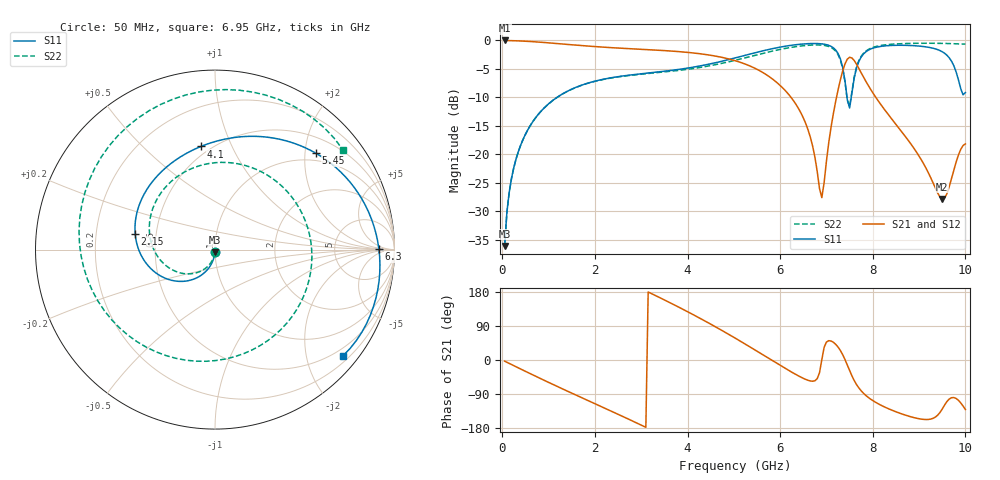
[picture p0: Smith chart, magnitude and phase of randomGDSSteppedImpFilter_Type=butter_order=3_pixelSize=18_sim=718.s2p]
! freq	dB(S11)	phase(S11)	dB(S12)	phase(S12)
!  dB(S21)	phase(S21)	dB(S22)	phase(S22)
!S-par simulation data
#  GHz  S  DB  R 50
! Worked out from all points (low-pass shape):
!   200 points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, 50 MHz to 10 GHz, reference 50 ohm
!   highest |S21| = -0.01 dB at 50 MHz (marker M1); lowest = -27.9 dB at 9.5 GHz (marker M2)
!   |S21| within 3 dB of the highest: start of sweep to 4.76 GHz; 7.492976 GHz to 7.518858 GHz (25.88 MHz wide, 0.345 % of centre)
!   lowest |S11| = -36.1 dB at 50 MHz (marker M3), VSWR 1.03, Z = 49.9 - j1.56 ohm
!   |S11| at or under -10 dB: start of sweep to 1.182 GHz; 7.444 GHz to 7.535 GHz (91.76 MHz wide, 1.23 % of centre)
!   |S22| runs from -36.1 to -0.5 dB; largest |S21 - S12| = 0
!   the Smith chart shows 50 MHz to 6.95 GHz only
!   S11 on the Smith chart (normalised r, x): 50 MHz: 1.00, -0.03; 2.15 GHz: 0.38, +0.08; 4.1 GHz: 0.44, +0.77; 5.45 GHz: 0.83, +2.24; 6.3 GHz: 22, +1; 6.95 GHz: 0.32, -2.73
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0.05  -36.12 -92.5  -0.01 -3.1  -0.01 -3.1  -36.14 -93.5
0.2  -24.19 -100.5  -0.04 -12.1  -0.04 -12.1  -24.20 -104.0
0.5  -16.49 -116.1  -0.14 -29.9  -0.14 -29.9  -16.50 -124.8
1.75  -7.76 -174.6  -0.93 -101.4  -0.93 -101.4  -7.78 150.4
2.15  -6.87 168.8  -1.17 -123.7  -1.17 -123.7  -6.91 122.6
3.4  -5.51 122.3  -1.74 164.6  -1.74 164.6  -5.63 26.2
4.1  -4.73 97.8  -2.18 121.1  -2.18 121.1  -4.96 -36.2
5.05  -3.03 61.4  -3.61 56.2  -3.61 56.2  -3.45 -130.2
5.45  -2.19 43.6  -4.87 26.9  -4.87 26.9  -2.63 -172.2
5.85  -1.42 24.1  -6.87 -3.0  -6.87 -3.0  -1.84 146.0
6.3  -0.79 0.2  -10.73 -35.6  -10.73 -35.6  -1.14 100.6
6.7  -0.54 -22.9  -18.52 -56.0  -18.52 -56.0  -0.81 62.3
6.9  -0.60 -36.1  -27.61 1.0  -27.61 1.0  -0.83 42.9
6.95  -0.66 -39.8  -24.95 33.7  -24.95 33.7  -0.88 37.9
7.25  -2.29 -68.5  -8.72 34.2  -8.72 34.2  -2.48 2.2
7.45  -10.42 -74.5  -3.29 -13.2  -3.29 -13.2  -10.48 -5.3
7.7  -3.67 -27.8  -4.93 -73.8  -4.93 -73.8  -3.53 34.6
8.35  -0.90 -73.2  -13.17 -129.2  -13.17 -129.2  -0.70 -15.2
9  -0.99 -108.5  -20.33 -155.1  -20.33 -155.1  -0.50 -45.8
9.5  -1.99 -147.8  -27.87 -129.4  -27.87 -129.4  -0.52 -65.0
9.75  -4.45 169.1  -22.78 -99.2  -22.78 -99.2  -0.58 -73.7
10  -9.17 35.7  -18.17 -130.6  -18.17 -130.6  -0.64 -81.7
